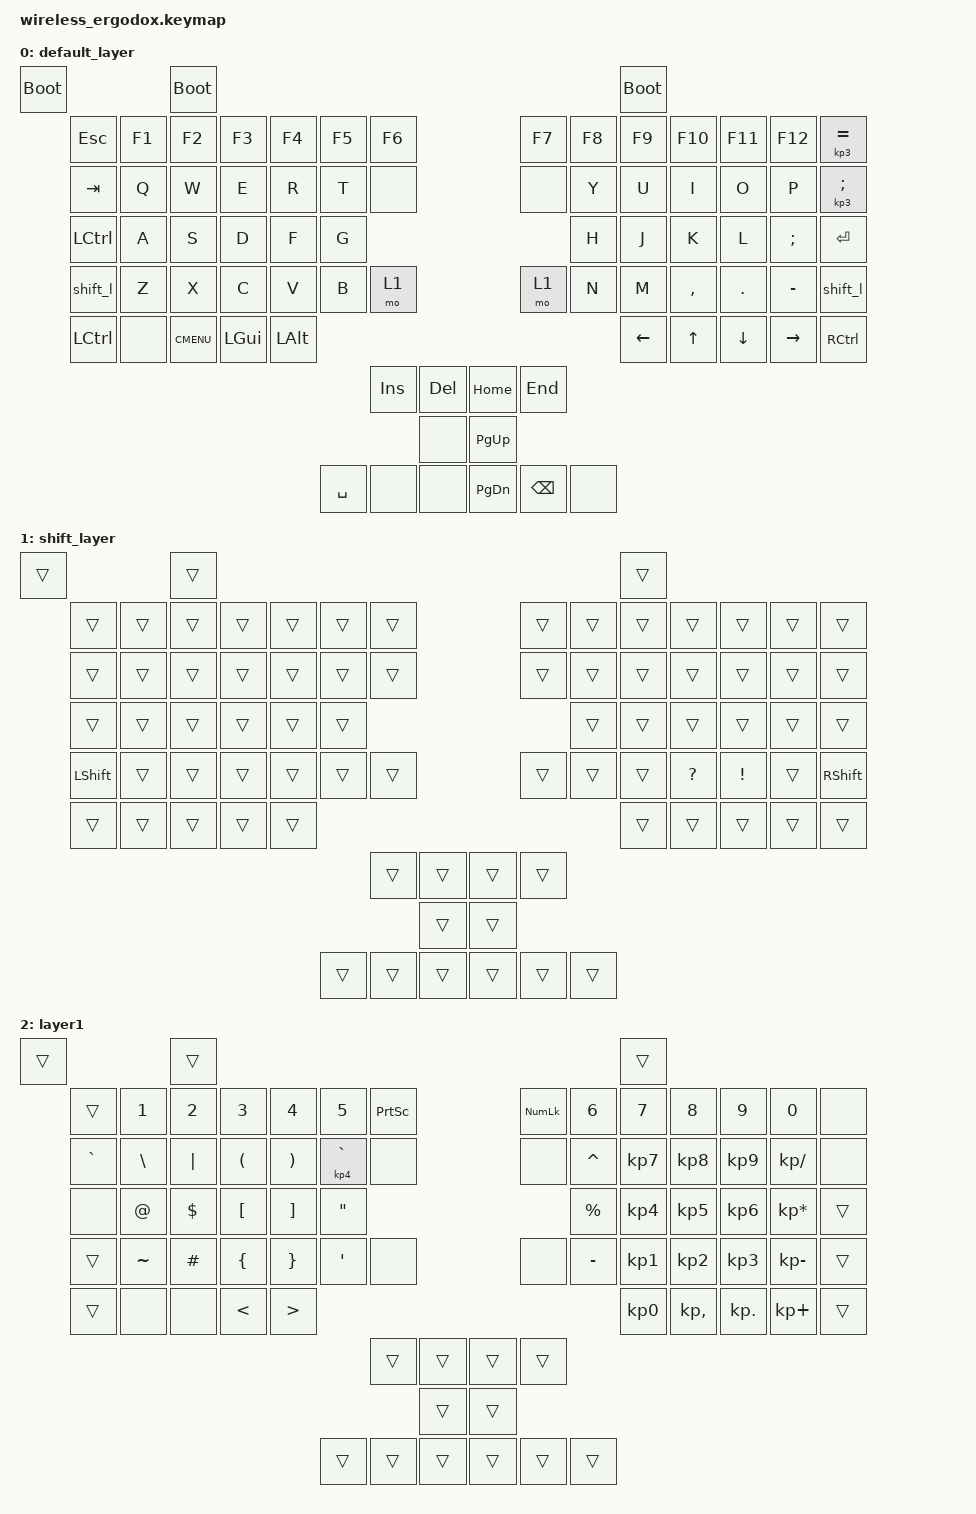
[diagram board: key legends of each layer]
/*
 * Copyright (c) 2021 The ZMK Contributors
 *
 * SPDX-License-Identifier: MIT
 */

#include <behaviors.dtsi>
#include <dt-bindings/zmk/keys.h>
#include <dt-bindings/zmk/bt.h>
#include <dt-bindings/zmk/ext_power.h>
#include <dt-bindings/zmk/outputs.h>

#define L0          0
#define SHIFT_LAYER 1
#define L1          2

/ {
    macros {
        /**
        * send shift with key from shift layer
        */
        shift_l: shift_layer {
            label = "shift_l";
            compatible = "zmk,behavior-macro";
            wait-ms = <0>;
            tap-ms = <0>;
            #binding-cells = <0>;
            bindings
                = <&macro_press &kp LSHIFT>
                , <&macro_press &mo SHIFT_LAYER>
                , <&macro_pause_for_release>
                , <&macro_release &mo SHIFT_LAYER>
                , <&macro_release &kp LSHIFT>
                ;
        };

        /**
        * pres key with alt gr (level3 shift)
        */
        kp3: key_press_level3 {
            label = "kp3";
            compatible = "zmk,behavior-macro-one-param";
            wait-ms = <0>;
            tap-ms = <0>;
            #binding-cells = <1>;
            bindings
                = <&macro_press &kp RALT>
                , <&macro_param_1to1>
                , <&macro_press &kp MACRO_PLACEHOLDER>
                , <&macro_pause_for_release>
                , <&macro_param_1to1>
                , <&macro_release &kp MACRO_PLACEHOLDER>
                , <&macro_release &kp RALT>
                ;
        };

        /**
        * pres key with alt gr (level3 shift) + shift = 4th symbol
        */
        kp4: key_press_level4 {
            label = "kp4";
            compatible = "zmk,behavior-macro-one-param";
            wait-ms = <0>;
            tap-ms = <0>;
            #binding-cells = <1>;
            bindings
                = <&macro_press &kp RALT>
                , <&macro_press &kp RSHIFT>
                , <&macro_param_1to1>
                , <&macro_press &kp MACRO_PLACEHOLDER>
                , <&macro_pause_for_release>
                , <&macro_param_1to1>
                , <&macro_release &kp MACRO_PLACEHOLDER>
                , <&macro_release &kp RSHIFT>
                , <&macro_release &kp RALT>
                ;
        };
    };

//       |--|          -----------------------------------------------------------------------------------------                           -----------------------------------------------------------------------------------------
// | dongle button |   |                      dongle button                                                    |                           |                        dongle button                                                  |
//                     -----------------------------------------------------------------------------------------                           -----------------------------------------------------------------------------------------
//                     |               |           |           |           |           |           |           |                           |           |           |           |           |           |           |               |
//                     |               |           |           |           |           |           |           |                           |           |           |           |           |           |           |               |
//                     |               |           |           |           |           |           |    ---    |                           |    ---    |           |           |           |           |           |               |
//                     |               |           |           |           |           |           |           |                           |           |           |           |           |           |           |               |
//                         |           |           |           |           |           | -----------------------------------   ----------------------------------- |           |           |           |           |           |
//                         ----------------------------------------------------------------------- |           |           |   |           |           | -----------------------------------------------------------------------
//                                                                                     |    ---    |    ---    |           |   |           |    ---    |    ---    |
//                                                                                     |           |           |           |   |           |           |           |
//                                                                                     -------------------------------------   -------------------------------------

    keymap {
        compatible =  "zmk,keymap";

        default_layer {
            bindings = <

        &bootloader                                 &bootloader                                                                                                     &bootloader
                        &kp ESC         &kp F1      &kp F2      &kp F3      &kp F4      &kp F5      &kp F6                                  &kp F7      &kp F8      &kp F9      &kp F10     &kp F11     &kp F12     &kp3 EQUAL
                        &kp TAB         &kp Q       &kp W       &kp E       &kp R       &kp T       &none                                   &none       &kp Y       &kp U       &kp I       &kp O       &kp P       &kp3 SEMI
                        &kp LCTRL       &kp A       &kp S       &kp D       &kp F       &kp G                                                           &kp H       &kp J       &kp K       &kp L       &kp SEMI    &kp ENTER
                        &shift_l        &kp Z       &kp X       &kp C       &kp V       &kp B       &mo L1                                  &mo L1      &kp N       &kp M       &kp COMMA   &kp DOT     &kp MINUS   &shift_l
                            &kp LCTRL   &none       &kp K_CMENU &kp LGUI    &kp LALT                                                                                &kp LEFT    &kp UP      &kp DOWN    &kp RIGHT   &kp RCTRL
                                                                                                    &kp INS     &kp DEL         &kp HOME    &kp END
                                                                                                                &none           &kp PG_UP
                                                                                        &kp SPACE   &none       &none           &kp PG_DN   &kp BSPC    &none
            >;
        };

        shift_layer {
            bindings = <

        &trans                                      &trans                                                                                                          &trans
                        &trans          &trans      &trans      &trans      &trans      &trans      &trans                                  &trans      &trans      &trans      &trans      &trans      &trans      &trans
                        &trans          &trans      &trans      &trans      &trans      &trans      &trans                                  &trans      &trans      &trans      &trans      &trans      &trans      &trans
                        &trans          &trans      &trans      &trans      &trans      &trans                                                          &trans      &trans      &trans      &trans      &trans      &trans
                        &kp LSHIFT      &trans      &trans      &trans      &trans      &trans      &trans                                  &trans      &trans      &trans      &kp QMARK   &kp EXCL    &trans      &kp RSHIFT
                        &trans          &trans      &trans      &trans      &trans                                                                                  &trans      &trans      &trans      &trans      &trans
                                                                                                    &trans      &trans          &trans      &trans
                                                                                                                &trans          &trans
                                                                                        &trans      &trans      &trans          &trans      &trans      &trans
            >;
        };

        layer1 {
            bindings = <

        &trans                                      &trans                                                                                                          &trans
                        &trans          &kp N1      &kp N2      &kp N3      &kp N4      &kp N5      &kp PSCRN                               &kp KP_NLCK &kp N6      &kp N7      &kp N8      &kp N9      &kp N0          &none
                        &kp GRAVE       &kp BSLH    &kp PIPE    &kp LPAR    &kp RPAR    &kp4 GRAVE  &none                                   &none       &kp CARET   &kp KP_N7   &kp KP_N8   &kp KP_N9   &kp KP_DIVIDE   &none
                        &none           &kp AT      &kp DOLLAR  &kp LBKT    &kp RBKT    &kp DOUBLE_QUOTES                                               &kp PERCENT &kp KP_N4   &kp KP_N5   &kp KP_N6   &kp KP_ASTERISK &trans
                        &trans          &kp TILDE   &kp HASH    &kp LBRC    &kp RBRC    &kp SINGLE_QUOTE &none                              &none       &kp MINUS   &kp KP_N1   &kp KP_N2   &kp KP_N3   &kp KP_MINUS    &trans
                            &trans      &none       &none       &kp LT      &kp GT                                                                                  &kp KP_N0   &kp KP_COMMA &kp KP_DOT &kp KP_PLUS     &trans
                                                                                                    &trans      &trans          &trans      &trans
                                                                                                                &trans          &trans
                                                                                        &trans      &trans      &trans          &trans      &trans      &trans
            >;
        };
    };
};
